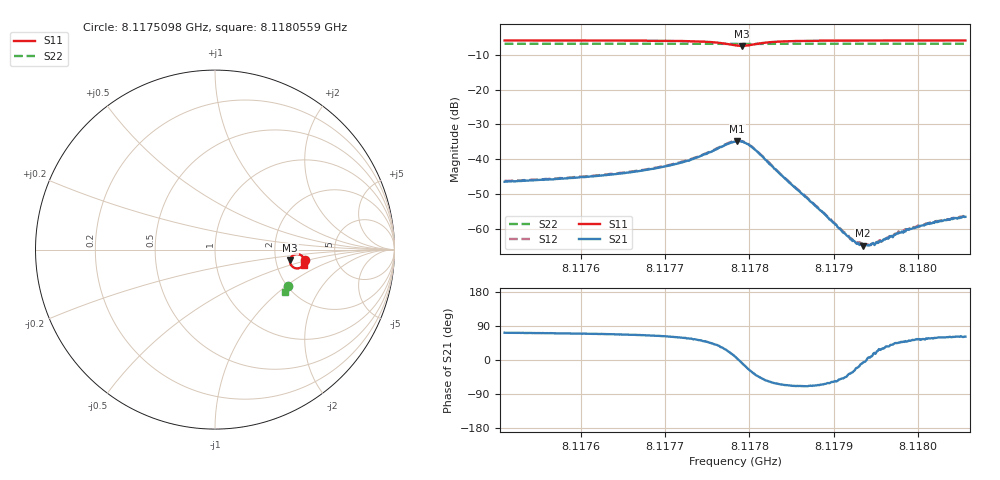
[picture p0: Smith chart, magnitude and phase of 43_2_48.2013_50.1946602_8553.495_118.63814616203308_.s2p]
#  HZ  S  RI  R  50.00
! Rohde & Schwarz Vector Network Analyzer
! Rohde-Schwarz,ZNB20-2Port,1311601062101988,3.16
! Created: UTC 3/20/2024, 11:37:57 AM
! freq[Hz]  re:S11  im:S11  re:S21  im:S21  re:S12  im:S12  re:S22  im:S22
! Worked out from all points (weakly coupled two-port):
!   401 points, 8.1175098 GHz to 8.1180559 GHz, reference 50 ohm
!   highest |S21| = -34.80 dB at 8.1177856 GHz (marker M1); lowest = -64.8 dB at 8.1179344 GHz (marker M2)
!   lowest |S11| = -7.5 dB at 8.117791 GHz (marker M3), VSWR 2.46, Z = 120 - j17.1 ohm
!   |S11| at or under -10 dB: nowhere
!   |S22| runs from -7.0 to -6.9 dB; largest |S21 - S12| = 0.0005
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8.1175098e9  0.5015 -0.0588  0.00147 0.00453  0.00159 0.00461  0.4042 -0.2026
8.11760127e9  0.4994 -0.0692  0.00196 0.00521  0.00202 0.00525  0.4017 -0.2084
8.11765042e9  0.4971 -0.0762  0.00245 0.00584  0.00255 0.00591  0.4001 -0.2118
8.11769274e9  0.4931 -0.0845  0.00337 0.00677  0.00351 0.00686  0.3985 -0.2147
8.11773097e9  0.4834 -0.0954  0.00549 0.00827  0.00574 0.00829  0.3967 -0.2173
8.1177651e9  0.4531 -0.1046  0.0121 0.00859  0.0123 0.00863  0.3944 -0.2192
8.11778284e9  0.4221 -0.0828  0.0176 0.00288  0.018 0.0027  0.3928 -0.219
8.11778557e9  0.4193 -0.0753  0.0182 0.00115  0.0184 0.000968  0.3927 -0.2188
8.11779104e9  0.4183 -0.0585  0.0176 -0.00245  0.018 -0.00276  0.3927 -0.2184
8.11779786e9  0.4268 -0.0396  0.0152 -0.00632  0.0155 -0.00662  0.3932 -0.218
8.11780605e9  0.4448 -0.0271  0.0111 -0.00835  0.0111 -0.00859  0.3938 -0.2182
8.11783063e9  0.4821 -0.0331  0.00345 -0.00636  0.00339 -0.00632  0.3944 -0.2205
8.11787431e9  0.4966 -0.0537  0.000879 -0.00222  0.000886 -0.00222  0.3934 -0.2242
8.11791936e9  0.4986 -0.065  0.0006 -0.000441  0.000582 -0.000416  0.392 -0.2273
8.11792756e9  0.4988 -0.0666  0.000572 -0.000215  0.000596 -0.000213  0.3918 -0.2277
8.11793438e9  0.4988 -0.0678  0.000572 -7.4e-05  0.000599 -6.06e-05  0.3916 -0.2284
8.11794394e9  0.499 -0.0694  0.000591 9.51e-05  0.000582 9.36e-05  0.3913 -0.2288
8.11795076e9  0.4989 -0.0706  0.000599 0.000247  0.000599 0.000245  0.391 -0.2293
8.11796578e9  0.4989 -0.0728  0.00061 0.000452  0.000618 0.000492  0.3905 -0.2302
8.11798899e9  0.4988 -0.0759  0.000603 0.000761  0.000645 0.000772  0.3897 -0.232
8.11801629e9  0.4983 -0.079  0.000646 0.00102  0.000696 0.00106  0.3888 -0.2336
8.11805588e9  0.4979 -0.0833  0.000711 0.00131  0.000749 0.00127  0.3874 -0.2359
